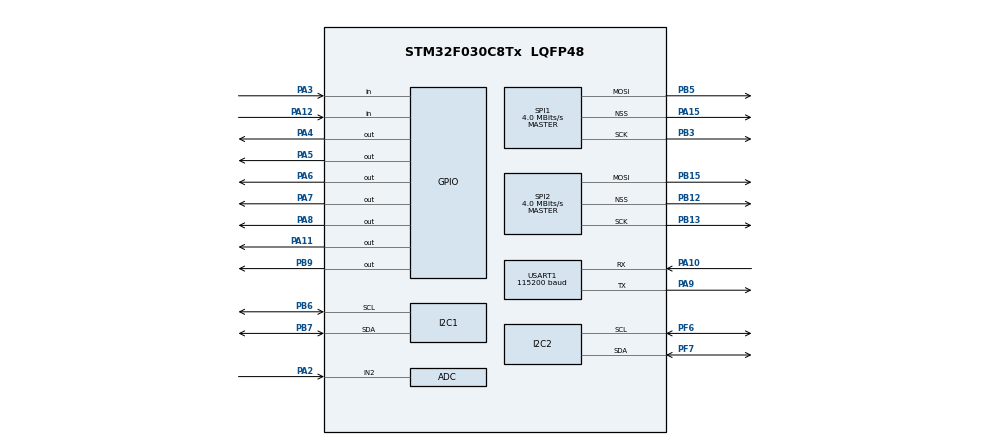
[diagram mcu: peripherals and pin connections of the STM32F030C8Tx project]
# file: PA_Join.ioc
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I2C1.Analog_Filter=I2C_ANALOGFILTER_DISABLE
I2C1.Timing=0x00101D2D
I2C2.Analog_Filter=I2C_ANALOGFILTER_DISABLE
I2C2.OwnAddress=0x35
I2C2.Timing=0x00101D2D
Mcu.Family=STM32F0
Mcu.Name=STM32F030C8Tx
Mcu.Package=LQFP48
NVIC.I2C2_IRQn=true\:0\:0\:false\:false\:true\:true\:true
NVIC.USART1_IRQn=true\:0\:0\:false\:false\:true\:true\:true
PA10.Mode=Asynchronous
PA10.Signal=USART1_RX
PA11.GPIO_PuPd=GPIO_PULLUP
PA11.PinState=GPIO_PIN_SET
PA11.Signal=GPIO_Output
PA12.Signal=GPIO_Input
PA13.Mode=Serial_Wire
PA13.Signal=SYS_SWDIO
PA14.Mode=Serial_Wire
PA14.Signal=SYS_SWCLK
PA15.Mode=NSS_Signal_Hard_Output
PA15.Signal=SPI1_NSS
PA2.Mode=IN2
PA2.Signal=ADC_IN2
PA3.Signal=GPIO_Input
PA4.GPIO_PuPd=GPIO_PULLUP
PA4.PinState=GPIO_PIN_SET
PA4.Signal=GPIO_Output
PA5.GPIO_PuPd=GPIO_PULLUP
PA5.PinState=GPIO_PIN_SET
PA5.Signal=GPIO_Output
PA6.GPIO_PuPd=GPIO_PULLUP
PA6.PinState=GPIO_PIN_SET
PA6.Signal=GPIO_Output
PA7.GPIO_PuPd=GPIO_PULLUP
PA7.PinState=GPIO_PIN_SET
PA7.Signal=GPIO_Output
PA8.GPIO_PuPd=GPIO_PULLUP
PA8.PinState=GPIO_PIN_SET
PA8.Signal=GPIO_Output
PA9.Mode=Asynchronous
PA9.Signal=USART1_TX
PB12.Mode=NSS_Signal_Hard_Output
PB12.Signal=SPI2_NSS
PB13.Mode=TX_Only_Simplex_Unidirect_Master
PB13.Signal=SPI2_SCK
PB15.Mode=TX_Only_Simplex_Unidirect_Master
PB15.Signal=SPI2_MOSI
PB3.Mode=TX_Only_Simplex_Unidirect_Master
PB3.Signal=SPI1_SCK
PB5.Mode=TX_Only_Simplex_Unidirect_Master
PB5.Signal=SPI1_MOSI
PB6.Mode=I2C
PB6.Signal=I2C1_SCL
PB7.Mode=I2C
PB7.Signal=I2C1_SDA
PB9.Signal=GPIO_Output
PF0-OSC_IN.Mode=HSE-External-Oscillator
PF0-OSC_IN.Signal=RCC_OSC_IN
PF1-OSC_OUT.Mode=HSE-External-Oscillator
PF1-OSC_OUT.Signal=RCC_OSC_OUT
PF6.Mode=I2C
PF6.Signal=I2C2_SCL
PF7.Mode=I2C
PF7.Signal=I2C2_SDA
ProjectManager.HeapSize=0x200
ProjectManager.StackSize=0x400
ProjectManager.TargetToolchain=MDK-ARM V5.27
SPI1.CalculateBaudRate=4.0 MBits/s
SPI1.Direction=SPI_DIRECTION_2LINES
SPI1.Mode=SPI_MODE_MASTER
SPI1.VirtualNSS=VM_NSSHARD
SPI1.VirtualType=VM_MASTER
SPI2.CalculateBaudRate=4.0 MBits/s
SPI2.DataSize=SPI_DATASIZE_16BIT
SPI2.Direction=SPI_DIRECTION_2LINES
SPI2.Mode=SPI_MODE_MASTER
SPI2.VirtualNSS=VM_NSSHARD
SPI2.VirtualType=VM_MASTER
USART1.BaudRate=115200
USART1.VirtualMode-Asynchronous=VM_ASYNC
VP_IWDG_VS_IWDG.Mode=IWDG_Activate
board=custom

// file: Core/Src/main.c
/* USER CODE BEGIN Header */
/**
  ******************************************************************************
  * @file           : main.c
  * @brief          : Main program body
  ******************************************************************************
  * @attention
  *
  * <h2><center>&copy; Copyright (c) 2024 STMicroelectronics.
  * All rights reserved.</center></h2>
  *
  * This software component is licensed by ST under BSD 3-Clause license,
  * the "License"; You may not use this file except in compliance with the
  * License. You may obtain a copy of the License at:
  *                        opensource.org/licenses/BSD-3-Clause
  *
  ******************************************************************************
  */
/* USER CODE END Header */
#include "main.h"
#include "adc.h"
#include "i2c.h"
#include "spi.h"
#include "usart.h"
#include "gpio.h"

/* USER CODE BEGIN Includes */
#include "stdio.h"
#include "string.h"
#include "stdarg.h"
#include "math.h"
/* USER CODE END Includes */

/* USER CODE BEGIN PD */
#define CH1 0x5000                       // Using CH6 as CH1
#define CH2 0x1000                       // Channel 2
#define CH3 0x2000                       // Channel 3
#define CH4 0x3000                       // Channel 4
#define CH5 0x4000                       // Channel 5
#define WRM 0x8000                       // Write Register Mode(won't change channels' output)
#define WTM 0x9000                       // Write Through Mode(change channels' output)

#define _DEBUG_BUF_SIZE_ 100
/* USER CODE END PD */

/* USER CODE BEGIN PV */
extern int Temp_Max_threshold;
extern int Temp_recover_threshold;

int Temp_compensation = 0; // DAC Mode Toggle -> 1

float T0 = 25.0;
float Vgs_T0 = 1.5;

float Vgs_Driver_T0 = 2.3;
float Vgs_Main_T0 = 2.3;
float Vgs_Peak_T0 = 1.5;

float K_t = 0.05;

float Driver_Kt = 0.05;
float Main_Kt = 0.05;
float Peak_Kt = 0.05;

float Temp, last_T = 25.0;

//float Vgs_T = 1.0;
float Vgs_Driver = 1.0;
float Vgs_Main = 1.0;
float Vgs_Peak = 1.0;

char rx_buffer[100];
uint8_t rx_data;
uint16_t rx_index = 0;

/**********FOR TEST**********/
float CH1_V = 2.0;
float CH2_V = 2.0;
float CH3_V = 1.0;
/**********FOR TEST**********/
/* USER CODE END PV */

void SystemClock_Config(void);
/* USER CODE BEGIN PFP */
#define FLASH_LAST_4KB_ADDR   ((uint32_t*)0x0800F000)
#define FLASH_PAGE_START_ADDR 0x0800F000
#define DRIVER_ID 0x01
#define MAIN_ID 0x02
#define PEAK_ID 0x03

#define MAX_ENTRIES 10
/* USER CODE END PFP */

/* USER CODE BEGIN 0 */

typedef struct
{
	float temp_low;
	float temp_high;
	float coeff;
} TempCompEntry;

TempCompEntry Vgs_driver_table[MAX_ENTRIES];
TempCompEntry Vgs_main_table[MAX_ENTRIES];
TempCompEntry Vgs_peak_table[MAX_ENTRIES];

size_t driver_count = 0;
size_t main_count = 0;
size_t peak_count = 0;

void read_Tempcomptable(uint32_t flash_address, size_t max_entries)
{
	int i = 0;
	for(i = 0 ; i < max_entries ; ++i){
		uint8_t param_type = *(uint8_t *)flash_address;

		if(param_type == 0xff){
			break;
		}

		flash_address += 4;

		int32_t temp_low = *(int32_t *)flash_address;
		flash_address += 4;

		int32_t temp_high = *(int32_t *)flash_address;
		flash_address += 4;

		float coeff = *(float *)flash_address;
		flash_address += 4;

		TempCompEntry entry;
		entry.temp_low = temp_low;
		entry.temp_high = temp_high;
		entry.coeff = coeff;

		if(param_type == DRIVER_ID && driver_count < MAX_ENTRIES){
			Vgs_driver_table[driver_count++] = entry;
		} else if (param_type == MAIN_ID && main_count < MAX_ENTRIES) {
			Vgs_main_table[main_count++] = entry;
		} else if(param_type == PEAK_ID && peak_count < MAX_ENTRIES) {
			Vgs_peak_table[peak_count++] = entry;
		}

	}
}

void erase_flash_page(uint32_t page_address)
{
    HAL_FLASH_Unlock();

    FLASH_EraseInitTypeDef EraseInitStruct;
    uint32_t PageError;

    EraseInitStruct.TypeErase = FLASH_TYPEERASE_PAGES;
    EraseInitStruct.PageAddress = page_address;
    EraseInitStruct.NbPages = 1;

    HAL_FLASHEx_Erase(&EraseInitStruct, &PageError);

    HAL_FLASH_Lock();
}

void write_to_flash(uint32_t address, uint32_t data)
{
    HAL_FLASH_Unlock();

    HAL_FLASH_Program(FLASH_TYPEPROGRAM_WORD, address, data);

    HAL_FLASH_Lock();
}

/***************************************************************
  *  @brief     Provides debug information and prints it via the serial port using UART.
  *  @param     Multiple parameters
  *  @note      Use this function where you want to observe the variable
  *  @Sample usage:     Debug_print(".....\r\n", ...);
 **************************************************************/
void Debug_print(const char *format, ...) {
	char buf[_DEBUG_BUF_SIZE_];
	va_list args;
	va_start(args, format);
	vsnprintf(buf, _DEBUG_BUF_SIZE_, format, args);
	va_end(args);

	HAL_UART_Transmit(&huart1, (uint8_t*)buf, strlen(buf), HAL_MAX_DELAY);
}

/* DSA Config Interface*/
/***************************************************************
  *  @brief     Adjustment of DSA according to received data from I2C Master
  *  @param     gear range (0~63)
  *  @note      6 GPIO pins avaliable
  *  @Sample usage:
 **************************************************************/
int32_t DSA_Adjust_Command(float target_gain)
{
    if (target_gain < 0.0f || target_gain > 31.5f) {
        return -1;
    }

    uint16_t gpio_pins[] = {GPIO_PIN_4, GPIO_PIN_5, GPIO_PIN_6, GPIO_PIN_7, GPIO_PIN_8, GPIO_PIN_11};
    float gain_values[] = {0.5f, 1.0f, 2.0f, 4.0f, 8.0f, 16.0f};

    for (int i = 5; i >= 0; i--) {
        if (target_gain >= gain_values[i]) {
            HAL_GPIO_WritePin(GPIOA, gpio_pins[i], GPIO_PIN_SET);
            target_gain -= gain_values[i];
        } else {
            HAL_GPIO_WritePin(GPIOA, gpio_pins[i], GPIO_PIN_RESET);
        }
    }

    return 0;
}

float DSA_Status(void)
{
    uint16_t gpio_pins[] = {GPIO_PIN_4, GPIO_PIN_5, GPIO_PIN_6, GPIO_PIN_7, GPIO_PIN_8, GPIO_PIN_11};
    float gain_values[] = {0.5f, 1.0f, 2.0f, 4.0f, 8.0f, 16.0f};

    float current_gain = 0.0f;
    GPIO_PinState pin_state;

    for (int i = 0; i < 6; i++) {
        pin_state = HAL_GPIO_ReadPin(GPIOA, gpio_pins[i]);

        if (pin_state == GPIO_PIN_SET) {
            current_gain += gain_values[i];
        }
    }

    return current_gain;
}

/***************************************************************
  *  @brief
  *  @param     cmd Can only be either 0 or 1
  *  @note      VC1-HIGH VC2-LOW: DPD | cmd-0: DPD cmd-1: another
  *  @Sample usage:
 **************************************************************/
int32_t Tor_Switch(uint32_t cmd)
{
  uint16_t data;
  if(cmd == 0) {
		 data = WTM; // Using WTM mode update channels
    HAL_SPI_Transmit(&hspi2, (uint8_t *)&data, sizeof(data), HAL_MAX_DELAY);

    data = CH4 | 0xe8d; // Voltage 3V
    HAL_SPI_Transmit(&hspi2, (uint8_t *)&data, sizeof(data), HAL_MAX_DELAY);

		data = WTM;

    data = CH5 | 0x0; // Voltage 0V
    HAL_SPI_Transmit(&hspi2, (uint8_t *)&data, sizeof(data), HAL_MAX_DELAY);

  } else if (cmd == 1) {

		   data = WTM; // Using WTM mode update channels
    HAL_SPI_Transmit(&hspi2, (uint8_t *)&data, sizeof(data), HAL_MAX_DELAY);

    data = CH4 | 0x0; // Voltage 0V
    HAL_SPI_Transmit(&hspi2, (uint8_t *)&data, sizeof(data), HAL_MAX_DELAY);

		data = WTM;

    data = CH5 | 0xe8d; // Voltage 3V
    HAL_SPI_Transmit(&hspi2, (uint8_t *)&data, sizeof(data), HAL_MAX_DELAY);

  } else {
    return -1;
  }
  return 0;
}

void channle1_test(uint16_t data)
{
	HAL_SPI_Transmit(&hspi2, (uint8_t *)&data, sizeof(data), HAL_MAX_DELAY);
}

void Parse_Command(char *command) {
    char param[10];
    float value;  uint16_t data; // Test delete later

    if (sscanf(command, "SET %s %f", param, &value) == 2) {
			if(Temp_compensation){
			      if (strcmp(param, "T0") == 0) {
            T0 = value;
						Debug_print("\r\nT0 set to: %.2f\r\n", T0);
        } else if (strcmp(param, "VGS_T0") == 0) {
            Vgs_T0 = value;
						Debug_print("\r\nVgs_T0 set to: %.2f\r\n", Vgs_T0);
        } else if (strcmp(param, "K_T") == 0) {
            K_t = value;
						Debug_print("\r\nK_t set to: %.2f\r\n", K_t);
        } else if(strcmp(param, "DRIVE_T0") == 0) {
						Vgs_Driver_T0 = value;
						Debug_print("\r\nVgs_Driver_T0 set to %.2f\r\n", Vgs_Driver_T0);
				} else if(strcmp(param, "MAIN_T0") == 0) {
						Vgs_Main_T0 = value;
						Debug_print("\r\nVgs_Main_T0 set to %.2f\r\n", Vgs_Main_T0);
				}	else if(strcmp(param, "PEAK_T0") == 0) {
						Vgs_Peak_T0 = value;
						Debug_print("\r\nVgs_Peak_T0 set to %.2f\r\n", Vgs_Peak_T0);
				}	else if(strcmp(param, "DRIVE_K") == 0) {
						Driver_Kt = value;
						Debug_print("\r\nDriver_Kt set to %.2f\r\n", Driver_Kt);
				}	else if(strcmp(param, "MAIN_K") == 0) {
						Main_Kt = value;
						Debug_print("\r\nMain_Kt set to %.2f\r\n", Main_Kt);
				}	else if(strcmp(param, "PEAK_K") == 0) {
						Peak_Kt = value;
						Debug_print("\r\nPeak_Kt set to %.2f\r\n", Peak_Kt);
				} else {
						Debug_print("\r\nTemperature compensation Mode try -- HELP\r\n");
				}
			} else {
				 if(strcmp(param, "CH1") == 0) {
						Debug_print("\r\nCH1 Driver set to %.4f\r\n", value);
						CH1_V = value;
						value += 0.015;
						uint16_t Driver_t = (uint16_t)(value / 3.3 * 4096);
						Debug_print("Calculated DAC value for CH1: %x\r\n", Driver_t);
						data = CH1 | Driver_t;
						channle1_test(data);
				} else if(strcmp(param, "CH2") == 0) {
						Debug_print("\r\nCH2 Main set to %.4f\r\n", value);
						CH2_V = value;
						value += 0.014;
						uint16_t Main_t = (uint16_t)(value / 3.3 * 4096);
						Debug_print("Calculated DAC value for CH1: %x\r\n", Main_t);
						data = CH2 | Main_t;
						channle1_test(data);
				} else if(strcmp(param, "CH3") == 0) {
						Debug_print("\r\nCH3 Peak set to %.4f\r\n", value);
						CH3_V = value;
						value += 0.008;
						uint16_t Peak_t = (uint16_t)(value / 3.3 * 4096);
						Debug_print("Calculated DAC value for CH1: %x\r\n", Peak_t);
						data = CH3 | Peak_t;
						channle1_test(data);
				}	else {
						Debug_print("\r\nAdjust DAC Channel Mode try -- HELP\r\n");
				}
			}
    } else if (strcmp(command, "CHECK") == 0) {
			if(Temp_compensation){
				Debug_print("\r\n--------------------------------------------------------------------\r\n");
				Debug_print("Temperature Compensation Mode\r\n");
				Debug_print("Temp = %.2f	T0 = %.2f\r\n", Temp, T0);
				Debug_print("CH1 Driver: Vgs_Driver: %.2f Driver_T0: %.2f  Driver_Kt: %.2f\r\n", Vgs_Driver, Vgs_Driver_T0, Driver_Kt);
				Debug_print("CH2 Main:     Vgs_Main: %.2f   Main_T0: %.2f    Main_Kt: %.2f\r\n", Vgs_Main, Vgs_Main_T0, Main_Kt);
				Debug_print("ch3 Peak:     Vgs_Peak: %.2f   Peak_T0: %.2f    Peak_Kt: %.2f\r\n", Vgs_Peak, Vgs_Peak_T0, Peak_Kt);
				Debug_print("DSA : %.1f\r\n", DSA_Status());
				Debug_print("--------------------------------------------------------------------\r\n");
			} else {
				Debug_print("\r\n---------------------------------------------\r\n");
				Debug_print("Adjust DAC Mode\r\n");
				Debug_print("Temp = %.2f	T0 = %.2f\r\n", Temp, T0);
				Debug_print("CH1 = %.2f\r\n", CH1_V);
				Debug_print("CH2 = %.2f\r\n", CH2_V);
				Debug_print("CH3 = %.2f\r\n", CH3_V);
				Debug_print("---------------------------------------------\r\n");
			}

    }	else if(strcmp(command, "ADC") == 0) {
				if (HAL_ADC_PollForConversion(&hadc, HAL_MAX_DELAY) == HAL_OK) {
						uint32_t adcValue = HAL_ADC_GetValue(&hadc);
						adcValue = adcValue * 3.3 / 4096;
						Debug_print("\r\nADC Value: %lu\r\n", adcValue);
				} else {
						Debug_print("\r\nFailed to read ADC value\r\n");
				}
		} else if(sscanf(command, "TOR %f", &value) == 1) {
				Tor_Switch(value);
				if (value == 1.0) {
            Debug_print("\r\nDirection: Forwards\r\n");   // Forwards
        } else {
						Debug_print("\r\nDirection: Backwards\r\n");  // Backwards
        }
		} else if(sscanf(command, "GAIN %f", &value) == 1) {
				DSA_Adjust_Command(value);
				Debug_print("\r\nDSA set to %f\r\n", value);
		}	else if(strcmp(command, "TEMP_COMP") == 0) {
				Temp_compensation = !Temp_compensation;
				if(Temp_compensation) {
					Debug_print("\r\nTemperature compensation enabled\r\n");
				} else {
					Debug_print("\r\nTemperature compensation disabled\r\n");
				}
		}	else if(strcmp(command, "HELP") == 0) {
				Debug_print("\r\n*********************Command List*********************\r\n");
				Debug_print("TEMP_COMP     toggle temperature compensation mode\r\n");
				Debug_print("CHECK         check current status\r\n");
				Debug_print("TOR <0/1>     toggle forwards/backwards\r\n");
				Debug_print("GAIN <param>  Set DSA range from 0~31.5\r\n");
				if(Temp_compensation){
					Debug_print("\r\nEnable Temperature Compensation Mode:\r\n");
					Debug_print("	   Vgs_t = -K_t * (T - T0) + Vgs_t0\r\n");
					Debug_print("Set Command:\r\n");
					Debug_print("SET T0 <param>         set T0 Temperature\r\n");
					Debug_print("SET DRIVE_T0 <param>   set driver(CH1) voltage\r\n");
					Debug_print("SET MAIN_T0 <param>    set main(CH2) voltage\r\n");
					Debug_print("SET PEAK_T0 <param>    set peak(CH3) voltage\r\n");
					Debug_print("\r\nSET DRIVE_K <param>    set driver K_t\r\n");
					Debug_print("SET MAIN_K <param>    set main K_t\r\n");
					Debug_print("SET PEAK_K <param>    set peak K_t\r\n");
				} else {
					Debug_print("\r\nDisable Temperature Compensation Mode Command:\r\n");
					Debug_print("SET CH1 <param>     set CH1 voltage\r\n");
					Debug_print("SET CH2 <param>     set CH2 voltage\r\n");
					Debug_print("SET CH3 <param>     set CH3 voltage\r\n");
				}
				Debug_print("*************************************************\r\n");
		}

		else {
        Debug_print("\r\nInvalid command format try --HELP\r\n");
    }
}

void HAL_UART_RxCpltCallback(UART_HandleTypeDef *huart)
{
    if (huart->Instance == USART1)
    {
        if (rx_data == '\r' || rx_data == '\n')
        {
            rx_buffer[rx_index] = '\0';
            Parse_Command((char*)rx_buffer);
            rx_index = 0;
        }
        else
        {
					  // Echo Terminal characters
//						HAL_UART_Transmit(&huart1, &rx_data, 1, HAL_MAX_DELAY);

            rx_buffer[rx_index++] = rx_data;

            if (rx_index >= sizeof(rx_buffer))
            {
                rx_index = 0;
            }
        }

        HAL_UART_Receive_IT(&huart1, &rx_data, 1); // Receive 1 Byte once
    }
}

//int32_t Vgs_Adjust()
//{
////    T = Read_Temperature(0x49);
//    if (Temp == 0.0f) {
//        Debug_print("Temperature T is zero, skipping adjustment.\r\n");
//        return 0; // Early exit if T is zero
//    }
//
//    if (fabs(Temp - last_T) >= 2.0)
//    {
//			Vgs_Driver = -0.0012 * (Temp - T0) + Vgs_Driver_T0;
//			if(Vgs_Driver > 3.0) {
//				Debug_print("Warning: Vgs_T exceed 3V, current value: %.2f, Set to 3\r\n", Vgs_Driver);
//				Vgs_Driver = 3.0;
//			}
//
//			Vgs_Main = -0.0012 * (Temp - T0) + Vgs_Main_T0;
//			if(Vgs_Main > 3.0) {
//				Debug_print("Warning: Vgs_T exceed 3V, current value: %.2f, Set to 3\r\n", Vgs_Main);
//				Vgs_Main = 3.0;
//			}
//
//			Vgs_Peak = -0.0012 * (Temp - T0) + Vgs_Peak_T0;
//			if(Vgs_Peak > 3.0) {
//				Debug_print("Warning: Vgs_T exceed 3V, current value: %.2f, Set to 3\r\n", Vgs_Peak);
//				Vgs_Peak = 3.0;
//			}
//
//			uint16_t volt;
//
//			uint16_t Driver = Vgs_Driver / 3.3 * 4096;
//			uint16_t Main = Vgs_Main / 3.3 * 4096;
//			uint16_t Peak = Vgs_Peak / 3.3 * 4096;
//			Debug_print("\r\nVgs_adjust: Vgs_Driver = %.4f, T = %.2f, Drive = %x\r\n", Vgs_Driver, Temp, Driver);
//			Debug_print("Vgs_adjust: Vgs_Main = %.4f, T = %.2f, Main = %x\r\n", Vgs_Main, Temp, Main);
//			Debug_print("Vgs_adjust: Vgs_Peak = %.4f, T = %.2f, Peak = %x\r\n", Vgs_Peak, Temp, Peak);
//
//			volt = CH1 | Driver;
//			Debug_print("volt = %x \r\n", volt);
////			HAL_SPI_Transmit(&hspi2, (uint8_t *)&volt, sizeof(volt), HAL_MAX_DELAY);
////			HAL_StatusTypeDef status;
////			status = HAL_SPI_Transmit(&hspi2, (uint8_t *)&volt, sizeof(volt), HAL_MAX_DELAY);
////			if (status != HAL_OK) {
////					Debug_print("CH1 SPI transmission failed with error: %d\r\n", status);
////			} else {
////					Debug_print("CH1 transmission completed %d\r\n", status);
////			}
//			channle1_test(CH1 | Driver);

//
//			volt = CH2 | Main;
//			Debug_print("volt = %x \r\n", volt);
////			HAL_SPI_Transmit(&hspi2, (uint8_t *)&volt, sizeof(volt), HAL_MAX_DELAY);
////			status = HAL_SPI_Transmit(&hspi2, (uint8_t *)&volt, sizeof(volt), HAL_MAX_DELAY);
////			if (status != HAL_OK) {
////					Debug_print("CH2 SPI transmission failed with error: %d\r\n", status);
////			} else {
////					Debug_print("CH2 transmission completed %d\r\n", status);
////			}
//			channle1_test(CH2 | Main);
//
//			volt = CH3 | Peak;
//			Debug_print("volt = %x \r\n", volt);
////			HAL_SPI_Transmit(&hspi2, (uint8_t *)&volt, sizeof(volt), HAL_MAX_DELAY);
////			status = HAL_SPI_Transmit(&hspi2, (uint8_t *)&volt, sizeof(volt), HAL_MAX_DELAY);
////			if (status != HAL_OK) {
////					Debug_print("CH3 SPI transmission failed with error: %d\r\n", status);
////			} else {
////					Debug_print("CH3 transmission completed %d\r\n", status);
////			}
//			channle1_test(CH3 | Peak);
//
//			volt = WTM;
////			HAL_SPI_Transmit(&hspi2, (uint8_t *)&volt, sizeof(volt), HAL_MAX_DELAY);
////			status = HAL_SPI_Transmit(&hspi2, (uint8_t *)&volt, sizeof(volt), HAL_MAX_DELAY);
////			if (status != HAL_OK) {
////					Debug_print("WTM SPI transmission failed with error: %d\r\n", status);
////			}else {
////					Debug_print("WTM transmission completed %d\r\n", status);
////			}
//			channle1_test(WTM);
//
//			last_T = Temp;
//    }
//    else
//    {
//        // Reserved
//    }
//		return 0;
//}

//int32_t Vgs_Adjust()
//{
//    if (Temp == 0.0f) {
//        Debug_print("Temperature T is zero, skipping adjustment.\r\n");
//        return 0;
//    }

//    Vgs_Driver = -0.0012 * (Temp - T0) + Vgs_Driver_T0;
//    if (Vgs_Driver > 3.0) {
//        Debug_print("Warning: Vgs_Driver exceed 3V, current value: %.2f, Set to 3\r\n", Vgs_Driver);
//        Vgs_Driver = 3.0;
//    }

//    Vgs_Main = -0.0012 * (Temp - T0) + Vgs_Main_T0;
//    if (Vgs_Main > 3.0) {
//        Debug_print("Warning: Vgs_Main exceed 3V, current value: %.2f, Set to 3\r\n", Vgs_Main);
//        Vgs_Main = 3.0;
//    }

//    Vgs_Peak = -0.0012 * (Temp - T0) + Vgs_Peak_T0;
//    if (Vgs_Peak > 3.0) {
//        Debug_print("Warning: Vgs_Peak exceed 3V, current value: %.2f, Set to 3\r\n", Vgs_Peak);
//        Vgs_Peak = 3.0;
//    }

//    uint16_t Driver = (uint16_t)(Vgs_Driver / 3.3 * 4096);
//    uint16_t Main = (uint16_t)(Vgs_Main / 3.3 * 4096);
//    uint16_t Peak = (uint16_t)(Vgs_Peak / 3.3 * 4096);

//    Debug_print("\r\nVgs_adjust: Vgs_Driver = %.4f, T = %.2f, Drive = %x\r\n", Vgs_Driver, Temp, Driver);
//    Debug_print("Vgs_adjust: Vgs_Main = %.4f, T = %.2f, Main = %x\r\n", Vgs_Main, Temp, Main);
//    Debug_print("Vgs_adjust: Vgs_Peak = %.4f, T = %.2f, Peak = %x\r\n", Vgs_Peak, Temp, Peak);

//    channle1_test(CH1 | Driver);
//    channle1_test(CH2 | Main);
//    channle1_test(CH3 | Peak);
//    channle1_test(WTM);

//    return 0;
//}

void Close_PA(void)
{
	uint16_t data;

	data = WTM;
	HAL_SPI_Transmit(&hspi2, (uint8_t *)&data, sizeof(data), HAL_MAX_DELAY);

	data = CH1;
	HAL_SPI_Transmit(&hspi2, (uint8_t *)&data, sizeof(data), HAL_MAX_DELAY);

	data = CH2;
	HAL_SPI_Transmit(&hspi2, (uint8_t *)&data, sizeof(data), HAL_MAX_DELAY);

	data = CH3;
	HAL_SPI_Transmit(&hspi2, (uint8_t *)&data, sizeof(data), HAL_MAX_DELAY);

	data = WRM;
	HAL_SPI_Transmit(&hspi2, (uint8_t *)&data, sizeof(data), HAL_MAX_DELAY);

	return ;
}

int32_t Open_PA(void)
{
	uint16_t data;

	data = WTM;
	HAL_SPI_Transmit(&hspi2, (uint8_t *)&data, sizeof(data), HAL_MAX_DELAY);

	data = CH1 | 0x9F0;
	HAL_SPI_Transmit(&hspi2, (uint8_t *)&data, sizeof(data), HAL_MAX_DELAY);

	data = CH2 | 0x9F0;
	HAL_SPI_Transmit(&hspi2, (uint8_t *)&data, sizeof(data), HAL_MAX_DELAY);

	// 1.8G initial 1V
	data = CH3 | 0x4FE;
	HAL_SPI_Transmit(&hspi2, (uint8_t *)&data, sizeof(data), HAL_MAX_DELAY);

	// 2.1G initial 1.3V
//	data = CH3 | 0x657;
//	HAL_SPI_Transmit(&hspi2, (uint8_t *)&data, sizeof(data), HAL_MAX_DELAY);
	return 0;
}

void read_flash_and_print(uint32_t address, uint32_t length)
{
    for (uint32_t i = 0; i < length; i++) {
        char flash_char = *(char*)(address + i);
        Debug_print("%c", flash_char);
    }
    Debug_print("\r\n");
}

void print_Tempcomptable(const TempCompEntry *entry, size_t count, const char *table_name){
	size_t i = 0;
	for(i = 0 ; i < count ; ++i) {
		Debug_print("%s Entry %zu: Temp[%.2f, %.2f], Coeff = %.6f\r\n", table_name, i, entry[i].temp_low, entry[i].temp_high, entry[i].coeff);
	}
}

float get_coeff_from_table(TempCompEntry *table, size_t count, float Temp) {
    for (size_t i = 0; i < count; ++i) {
        if (Temp >= table[i].temp_low && Temp <= table[i].temp_high) {
            return table[i].coeff;
        }
    }
    return -0.0012;
}

void Adjust_Vgs_Driver(float Temp)
{
//    Vgs_Driver = -0.0012 * (Temp - T0) + Vgs_Driver_T0;
		float coeff = get_coeff_from_table(Vgs_driver_table, driver_count, Temp);
		Vgs_Driver = coeff * (Temp - T0) + Vgs_Driver_T0;
    if (Vgs_Driver > 3.0) {
        Debug_print("Warning: Vgs_Driver exceed 3V, current value: %.2f, Set to 3\r\n", Vgs_Driver);
        Vgs_Driver = 3.0;
    }

    uint16_t Driver = (uint16_t)(Vgs_Driver / 3.3 * 4096);
    Debug_print("\r\nAdjust_Vgs_Driver: Vgs_Driver = %.4f, T = %.2f\r\n", Vgs_Driver, Temp);
	  uint16_t data = CH1 | Driver;
    channle1_test(data);
}

void Adjust_Vgs_Main(float Temp)
{
//    Vgs_Main = -0.0012 * (Temp - T0) + Vgs_Main_T0;
		float coeff = get_coeff_from_table(Vgs_main_table, main_count, Temp);
		Vgs_Main = coeff * (Temp - T0) + Vgs_Main_T0;
    if (Vgs_Main > 3.0) {
        Debug_print("Warning: Vgs_Main exceed 3V, current value: %.2f, Set to 3\r\n", Vgs_Main);
        Vgs_Main = 3.0;
    }

    uint16_t Main = (uint16_t)(Vgs_Main / 3.3 * 4096);
    Debug_print("\r\nAdjust_Vgs_Main: Vgs_Main = %.4f, T = %.2f\r\n", Vgs_Main, Temp);
		uint16_t data = CH2 | Main;
    channle1_test(data);
}

void Adjust_Vgs_Peak(float Temp)
{
//    Vgs_Peak = -0.0012 * (Temp - T0) + Vgs_Peak_T0;
		float coeff = get_coeff_from_table(Vgs_peak_table, peak_count, Temp);
		Vgs_Peak = coeff * (Temp - T0) + Vgs_Peak_T0;
    if (Vgs_Peak > 3.0) {
        Debug_print("Warning: Vgs_Peak exceed 3V, current value: %.2f, Set to 3\r\n", Vgs_Peak);
        Vgs_Peak = 3.0;
    }

    uint16_t Peak = (uint16_t)(Vgs_Peak / 3.3 * 4096);
    Debug_print("\r\nAdjust_Vgs_Peak: Vgs_Peak = %.4f, T = %.2f\r\n", Vgs_Peak, Temp);
		uint16_t data = CH3 | Peak;
    channle1_test(data);
}

int32_t Vgs_Adjust()
{
    if (Temp == 0.0f) {
        Debug_print("Temperature T is zero, skipping adjustment.\r\n");
        return 0;
    }

    Adjust_Vgs_Driver(Temp);
    Adjust_Vgs_Main(Temp);
    Adjust_Vgs_Peak(Temp);

    channle1_test(WTM);

    return 0;
}

/* USER CODE END 0 */

int main(void)
{
  /* USER CODE BEGIN 1 */
	int PA_ON = 0;
	int temp_exceed = 0;
  /* USER CODE END 1 */

  /* MCU Configuration--------------------------------------------------------*/

  /* Reset of all peripherals, Initializes the Flash interface and the Systick. */
  HAL_Init();

  /* Configure the system clock */
  SystemClock_Config();

  /* Initialize all configured peripherals */
  MX_GPIO_Init();
  MX_I2C1_Init();
  MX_I2C2_Init();
  MX_SPI1_Init();
  MX_SPI2_Init();
  MX_USART1_UART_Init();
  MX_ADC_Init();
  /* USER CODE BEGIN 2 */

	HAL_ADC_Start(&hadc);

	if (HAL_I2C_EnableListen_IT(&hi2c2) != HAL_OK)
	{
			Error_Handler();
	}

	HAL_UART_Receive_IT(&huart1, (uint8_t*)rx_buffer, 1);

	Open_PA();
//	if(HAL_GPIO_ReadPin(GPIOA, GPIO_PIN_12) == GPIO_PIN_SET)
//	{
//		Open_PA();
//		PA_ON = 1;
//	}
//	else
//	{
//		Close_PA();
//		PA_ON = 0;
//	}

	 DSA_Adjust_Command(0);

  // Tor_Switch(1);
	uint16_t data = 0;
	data = WTM; // Using WTM mode update channels
    HAL_SPI_Transmit(&hspi2, (uint8_t *)&data, sizeof(data), HAL_MAX_DELAY);

    data = CH4 | 0x0; // Voltage 0V
    HAL_SPI_Transmit(&hspi2, (uint8_t *)&data, sizeof(data), HAL_MAX_DELAY);

		data = WTM;

    data = CH5 | 0xe8d; // Voltage 3V
    HAL_SPI_Transmit(&hspi2, (uint8_t *)&data, sizeof(data), HAL_MAX_DELAY);

//		erase_flash_page(FLASH_PAGE_START_ADDR);

//		uint32_t read_data;
//		write_to_flash(0x0800F000, 0x12345678);
//		read_data = *((uint32_t*)0x0800F000);
//		write_to_flash(0x0800F010, 0x48656C6C);
//    write_to_flash(0x0800F014, 0x6F20466C);
//    write_to_flash(0x0800F018, 0x61736821);
//    write_to_flash(0x0800F000, 0x12345678);  // ?? 0x12345678 ? 0x0800F000
//// ????????? Flash
//		write_to_flash(0x0800F010, 0x6C6C6548);  // ?? "Hell"
//		write_to_flash(0x0800F014, 0x6C46206F);  // ?? "o Fl"
//		write_to_flash(0x0800F018, 0x21687361);  // ?? "ash!"

//		uint32_t read_data = *((uint32_t*)0x0800F000);
		read_Tempcomptable(0x800F000, MAX_ENTRIES);
  /* USER CODE END 2 */

  /* Infinite loop */
  while (1)
  {
		Temp = Read_Temperature(0x49);
		Debug_print("Temp = %.2f\r\n", Temp);
		HAL_Delay(1000);
//		Debug_print("Test 2:%x\r\n", read_data);
//		read_flash_and_print(0x0800F010, 12);
//		print_Tempcomptable(Vgs_driver_table, driver_count, "Driver");
//		print_Tempcomptable(Vgs_main_table, main_count, "Main");
//		print_Tempcomptable(Vgs_peak_table, peak_count, "Peak");
//		Debug_print("\r\n");
//		HAL_Delay(5000);
//    if (Temp > Temp_Max_threshold)
//    {
//      if (!temp_exceed)
//      {
//        Close_PA();
//        temp_exceed = 1;
//      }
//    }
//    else if (Temp < Temp_recover_threshold)
//    {
//      if (temp_exceed)
//      {
//        Open_PA();
//        temp_exceed = 0;
//      }
//    }
		if(Temp_compensation){
			if(fabs(Temp - last_T) >= 0.5) {
					channle1_test(WTM);
					Adjust_Vgs_Driver(Temp);
					Adjust_Vgs_Main(Temp);
					Adjust_Vgs_Peak(Temp);
					last_T = Temp;
			}
			HAL_Delay(1000);
		}
  }
}

void SystemClock_Config(void)
{
  RCC_OscInitTypeDef RCC_OscInitStruct = {0};
  RCC_ClkInitTypeDef RCC_ClkInitStruct = {0};
  RCC_PeriphCLKInitTypeDef PeriphClkInit = {0};

  /** Initializes the RCC Oscillators according to the specified parameters
  * in the RCC_OscInitTypeDef structure.
  */
  RCC_OscInitStruct.OscillatorType = RCC_OSCILLATORTYPE_HSI|RCC_OSCILLATORTYPE_HSI14;
  RCC_OscInitStruct.HSIState = RCC_HSI_ON;
  RCC_OscInitStruct.HSI14State = RCC_HSI14_ON;
  RCC_OscInitStruct.HSICalibrationValue = RCC_HSICALIBRATION_DEFAULT;
  RCC_OscInitStruct.HSI14CalibrationValue = 16;
  RCC_OscInitStruct.PLL.PLLState = RCC_PLL_NONE;
  if (HAL_RCC_OscConfig(&RCC_OscInitStruct) != HAL_OK)
  {
    Error_Handler();
  }
  /** Initializes the CPU, AHB and APB buses clocks
  */
  RCC_ClkInitStruct.ClockType = RCC_CLOCKTYPE_HCLK|RCC_CLOCKTYPE_SYSCLK
                              |RCC_CLOCKTYPE_PCLK1;
  RCC_ClkInitStruct.SYSCLKSource = RCC_SYSCLKSOURCE_HSI;
  RCC_ClkInitStruct.AHBCLKDivider = RCC_SYSCLK_DIV1;
  RCC_ClkInitStruct.APB1CLKDivider = RCC_HCLK_DIV1;

  if (HAL_RCC_ClockConfig(&RCC_ClkInitStruct, FLASH_LATENCY_0) != HAL_OK)
  {
    Error_Handler();
  }
  PeriphClkInit.PeriphClockSelection = RCC_PERIPHCLK_USART1|RCC_PERIPHCLK_I2C1;
  PeriphClkInit.Usart1ClockSelection = RCC_USART1CLKSOURCE_PCLK1;
  PeriphClkInit.I2c1ClockSelection = RCC_I2C1CLKSOURCE_HSI;
  if (HAL_RCCEx_PeriphCLKConfig(&PeriphClkInit) != HAL_OK)
  {
    Error_Handler();
  }
}

void Error_Handler(void)
{
  __disable_irq();
  while (1)
  {
  }
}

/************************ (C) COPYRIGHT STMicroelectronics *****END OF FILE****/
